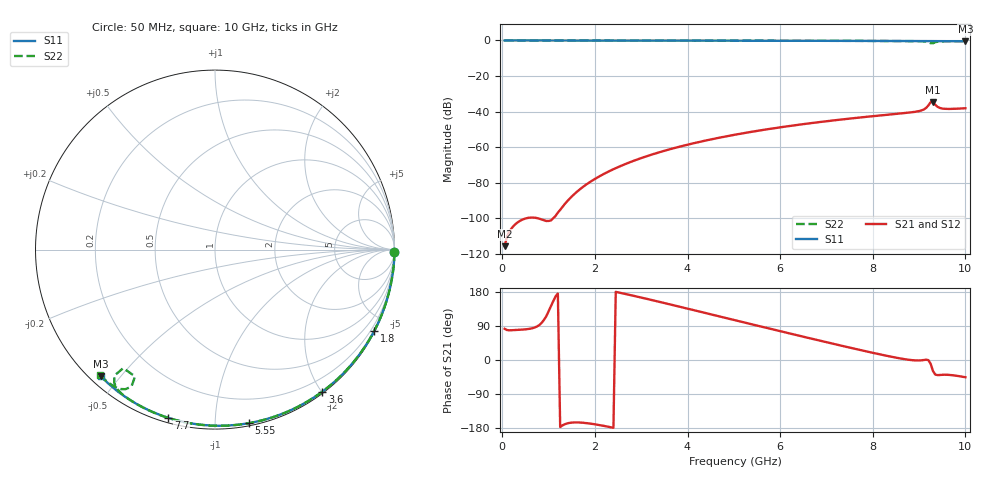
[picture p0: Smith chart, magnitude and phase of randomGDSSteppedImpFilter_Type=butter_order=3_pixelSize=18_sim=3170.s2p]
! freq	dB(S11)	phase(S11)	dB(S12)	phase(S12)
!  dB(S21)	phase(S21)	dB(S22)	phase(S22)
!S-par simulation data
#  GHz  S  DB  R 50
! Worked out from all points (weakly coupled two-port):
!   200 points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, 50 MHz to 10 GHz, reference 50 ohm
!   highest |S21| = -34.63 dB at 9.3 GHz (marker M1); lowest = -115.7 dB at 50 MHz (marker M2)
!   lowest |S11| = -0.4 dB at 10 GHz (marker M3), VSWR 39.07, Z = 1.53 - j22.2 ohm
!   |S11| at or under -10 dB: nowhere
!   |S22| runs from -1.6 to 0.0 dB; largest |S21 - S12| = 0
!   S11 on the Smith chart (normalised r, x): 50 MHz: open; 1.8 GHz: 0.04, -4.15; 3.6 GHz: 0.02, -2.01; 5.55 GHz: 0.02, -1.21; 7.7 GHz: 0.02, -0.76; 10 GHz: 0.03, -0.44
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0.05  -0.00 -0.8  -115.71 82.4  -115.71 82.4  -0.00 -0.8
0.9  -0.02 -13.7  -101.18 106.0  -101.18 106.0  -0.02 -13.8
1.75  -0.03 -26.3  -82.23 -165.7  -82.23 -165.7  -0.03 -26.6
1.8  -0.03 -27.1  -81.28 -166.3  -81.28 -166.3  -0.03 -27.3
1.9  -0.04 -28.5  -79.52 -167.8  -79.52 -167.8  -0.04 -28.8
2.25  -0.04 -33.7  -74.30 -175.2  -74.30 -175.2  -0.04 -34.0
2.65  -0.05 -39.5  -69.58 174.5  -69.58 174.5  -0.05 -39.9
3.4  -0.07 -50.1  -62.82 153.2  -62.82 153.2  -0.07 -50.6
3.6  -0.07 -52.9  -61.32 147.4  -61.32 147.4  -0.07 -53.5
5.05  -0.11 -72.6  -52.89 104.3  -52.89 104.3  -0.11 -73.3
5.55  -0.13 -79.1  -50.66 89.4  -50.66 89.4  -0.13 -79.9
6.7  -0.18 -93.5  -46.39 55.6  -46.39 55.6  -0.18 -94.5
7.7  -0.24 -105.6  -43.40 27.1  -43.40 27.1  -0.24 -106.8
8.35  -0.29 -113.2  -41.70 9.8  -41.70 9.8  -0.29 -114.7
9.05  -0.35 -121.3  -39.37 -0.8  -39.37 -0.8  -0.44 -124.7
9.15  -0.36 -122.4  -38.01 0.8  -38.01 0.8  -0.64 -127.2
9.2  -0.36 -123.0  -36.56 -0.3  -36.56 -0.3  -0.94 -128.6
9.25  -0.36 -123.5  -34.71 -10.1  -34.71 -10.1  -1.57 -127.7
9.3  -0.37 -124.1  -34.63 -29.1  -34.63 -29.1  -1.56 -122.2
9.4  -0.38 -125.3  -37.36 -39.9  -37.36 -39.9  -0.69 -122.7
9.5  -0.39 -126.4  -38.29 -39.0  -38.29 -39.0  -0.51 -125.1
10  -0.44 -132.1  -38.13 -45.5  -38.13 -45.5  -0.46 -132.4
